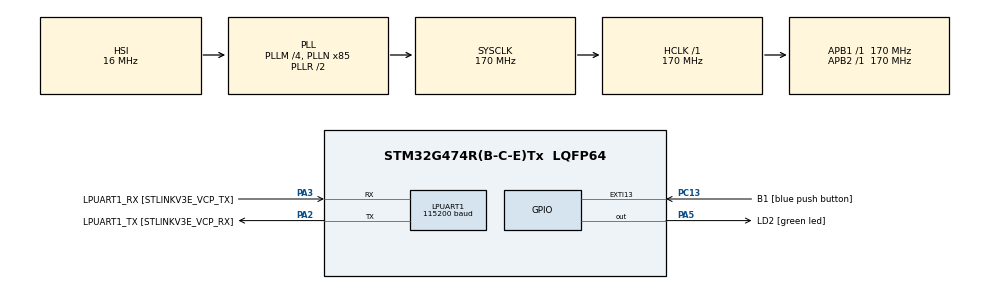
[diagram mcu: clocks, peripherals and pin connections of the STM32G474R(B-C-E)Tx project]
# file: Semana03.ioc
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LPUART1.BaudRate=115200
LPUART1.WordLength=UART_WORDLENGTH_8B
Mcu.Family=STM32G4
Mcu.Name=STM32G474R(B-C-E)Tx
Mcu.Package=LQFP64
NVIC.EXTI15_10_IRQn=true\:0\:0\:false\:false\:true\:true\:true\:true
NVIC.PriorityGroup=NVIC_PRIORITYGROUP_4
PA13.GPIO_Label=T_SWDIO
PA13.Mode=Serial_Wire
PA13.Signal=SYS_JTMS-SWDIO
PA14.GPIO_Label=T_SWCLK
PA14.Mode=Serial_Wire
PA14.Signal=SYS_JTCK-SWCLK
PA2.GPIO_Label=LPUART1_TX [STLINKV3E_VCP_RX]
PA2.Mode=Asynchronous
PA2.Signal=LPUART1_TX
PA3.GPIO_Label=LPUART1_RX [STLINKV3E_VCP_TX]
PA3.Mode=Asynchronous
PA3.Signal=LPUART1_RX
PA5.GPIO_Label=LD2 [green led]
PA5.Signal=GPIO_Output
PB3.GPIO_Label=T_SWO
PB3.Signal=SYS_JTDO-SWO
PC13.GPIO_Label=B1 [blue push button]
PC13.Signal=GPXTI13
PC14-OSC32_IN.Mode=LSE-External-Oscillator
PC14-OSC32_IN.Signal=RCC_OSC32_IN
PC15-OSC32_OUT.Mode=LSE-External-Oscillator
PC15-OSC32_OUT.Signal=RCC_OSC32_OUT
PF0-OSC_IN.Mode=HSE-External-Oscillator
PF0-OSC_IN.Signal=RCC_OSC_IN
PF1-OSC_OUT.Mode=HSE-External-Oscillator
PF1-OSC_OUT.Signal=RCC_OSC_OUT
ProjectManager.HeapSize=0x200
ProjectManager.StackSize=0x400
ProjectManager.TargetToolchain=STM32CubeIDE
RCC.ADC12Freq_Value=170000000
RCC.ADC345Freq_Value=170000000
RCC.AHBFreq_Value=170000000
RCC.APB1Freq_Value=170000000
RCC.APB1TimFreq_Value=170000000
RCC.APB2Freq_Value=170000000
RCC.APB2TimFreq_Value=170000000
RCC.CortexFreq_Value=170000000
RCC.EXTERNAL_CLOCK_VALUE=12288000
RCC.HCLKFreq_Value=170000000
RCC.HSE_VALUE=24000000
RCC.HSI48_VALUE=48000000
RCC.HSI_VALUE=16000000
RCC.PLLM=RCC_PLLM_DIV4
RCC.PLLN=85
RCC.RTCClockSelection=RCC_RTCCLKSOURCE_LSE
RCC.SYSCLKFreq_VALUE=170000000
RCC.SYSCLKSource=RCC_SYSCLKSOURCE_PLLCLK
RCC.USBFreq_Value=170000000
RCC.VCOOutputFreq_Value=340000000
VP_SYS_VS_DBSignals.Mode=DisableDeadBatterySignals
board=NUCLEO-G474RE

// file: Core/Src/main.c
/* USER CODE BEGIN Header */
/**
  ******************************************************************************
  * @file           : main.c
  * @brief          : Main program body
  ******************************************************************************
  * @attention
  *
  * Copyright (c) 2024 STMicroelectronics.
  * All rights reserved.
  *
  * This software is licensed under terms that can be found in the LICENSE file
  * in the root directory of this software component.
  * If no LICENSE file comes with this software, it is provided AS-IS.
  *
  ******************************************************************************
  */
/* USER CODE END Header */
#include "main.h"

/* USER CODE BEGIN Includes */
#include "buttons.h"
#include "led.h"
/* USER CODE END Includes */

UART_HandleTypeDef hlpuart1;

void SystemClock_Config(void);
static void MX_GPIO_Init(void);
static void MX_LPUART1_UART_Init(void);

int main(void)
{

  /* MCU Configuration--------------------------------------------------------*/

  /* Reset of all peripherals, Initializes the Flash interface and the Systick. */
  HAL_Init();

  /* USER CODE BEGIN Init */
  vLedInitLed ();
  vButtonsInitButtons();

  /* USER CODE END Init */

  /* Configure the system clock */
  SystemClock_Config();

  /* Initialize all configured peripherals */
  MX_GPIO_Init();
  MX_LPUART1_UART_Init();

  /* Infinite loop */
  /* USER CODE BEGIN WHILE */
  while (1)
  {
	  if (cButtonsGetState(up)){
	  		vLedWriteLed(green1, 1);
	  	}else if (cButtonsGetState(down)){
	  		vLedWriteLed(green1, 0);
	  		vLedOnLed(yellow);
	  	}else if (cButtonsGetState(right)){
	  		vLedOffLed(yellow);
	  		vLedOnLed(red);
	  		HAL_Delay(1000);
	  		vLedOffLed(red);
	  	}else if (cButtonsGetState(left)){
	  		vLedToggleLed(green2);
	  		HAL_Delay(500);
	  		vLedToggleLed(green2);
	  	}else if (cButtonsGetState(enter)){
	  		vLedToggleLed(blue);
	  		HAL_Delay(500);
	  		vLedToggleLed(blue);
	  	}
    /* USER CODE END WHILE */

  }
}

void SystemClock_Config(void)
{
  RCC_OscInitTypeDef RCC_OscInitStruct = {0};
  RCC_ClkInitTypeDef RCC_ClkInitStruct = {0};

  /** Configure the main internal regulator output voltage
  */
  HAL_PWREx_ControlVoltageScaling(PWR_REGULATOR_VOLTAGE_SCALE1_BOOST);

  /** Initializes the RCC Oscillators according to the specified parameters
  * in the RCC_OscInitTypeDef structure.
  */
  RCC_OscInitStruct.OscillatorType = RCC_OSCILLATORTYPE_HSI;
  RCC_OscInitStruct.HSIState = RCC_HSI_ON;
  RCC_OscInitStruct.HSICalibrationValue = RCC_HSICALIBRATION_DEFAULT;
  RCC_OscInitStruct.PLL.PLLState = RCC_PLL_ON;
  RCC_OscInitStruct.PLL.PLLSource = RCC_PLLSOURCE_HSI;
  RCC_OscInitStruct.PLL.PLLM = RCC_PLLM_DIV4;
  RCC_OscInitStruct.PLL.PLLN = 85;
  RCC_OscInitStruct.PLL.PLLP = RCC_PLLP_DIV2;
  RCC_OscInitStruct.PLL.PLLQ = RCC_PLLQ_DIV2;
  RCC_OscInitStruct.PLL.PLLR = RCC_PLLR_DIV2;
  if (HAL_RCC_OscConfig(&RCC_OscInitStruct) != HAL_OK)
  {
    Error_Handler();
  }

  /** Initializes the CPU, AHB and APB buses clocks
  */
  RCC_ClkInitStruct.ClockType = RCC_CLOCKTYPE_HCLK|RCC_CLOCKTYPE_SYSCLK
                              |RCC_CLOCKTYPE_PCLK1|RCC_CLOCKTYPE_PCLK2;
  RCC_ClkInitStruct.SYSCLKSource = RCC_SYSCLKSOURCE_PLLCLK;
  RCC_ClkInitStruct.AHBCLKDivider = RCC_SYSCLK_DIV1;
  RCC_ClkInitStruct.APB1CLKDivider = RCC_HCLK_DIV1;
  RCC_ClkInitStruct.APB2CLKDivider = RCC_HCLK_DIV1;

  if (HAL_RCC_ClockConfig(&RCC_ClkInitStruct, FLASH_LATENCY_4) != HAL_OK)
  {
    Error_Handler();
  }
}

static void MX_LPUART1_UART_Init(void)
{

  hlpuart1.Instance = LPUART1;
  hlpuart1.Init.BaudRate = 115200;
  hlpuart1.Init.WordLength = UART_WORDLENGTH_8B;
  hlpuart1.Init.StopBits = UART_STOPBITS_1;
  hlpuart1.Init.Parity = UART_PARITY_NONE;
  hlpuart1.Init.Mode = UART_MODE_TX_RX;
  hlpuart1.Init.HwFlowCtl = UART_HWCONTROL_NONE;
  hlpuart1.Init.OneBitSampling = UART_ONE_BIT_SAMPLE_DISABLE;
  hlpuart1.Init.ClockPrescaler = UART_PRESCALER_DIV1;
  hlpuart1.AdvancedInit.AdvFeatureInit = UART_ADVFEATURE_NO_INIT;
  if (HAL_UART_Init(&hlpuart1) != HAL_OK)
  {
    Error_Handler();
  }
  if (HAL_UARTEx_SetTxFifoThreshold(&hlpuart1, UART_TXFIFO_THRESHOLD_1_8) != HAL_OK)
  {
    Error_Handler();
  }
  if (HAL_UARTEx_SetRxFifoThreshold(&hlpuart1, UART_RXFIFO_THRESHOLD_1_8) != HAL_OK)
  {
    Error_Handler();
  }
  if (HAL_UARTEx_DisableFifoMode(&hlpuart1) != HAL_OK)
  {
    Error_Handler();
  }

}

static void MX_GPIO_Init(void)
{
  GPIO_InitTypeDef GPIO_InitStruct = {0};

  /* GPIO Ports Clock Enable */
  __HAL_RCC_GPIOC_CLK_ENABLE();
  __HAL_RCC_GPIOF_CLK_ENABLE();
  __HAL_RCC_GPIOA_CLK_ENABLE();
  __HAL_RCC_GPIOB_CLK_ENABLE();

  /*Configure GPIO pin Output Level */
  HAL_GPIO_WritePin(LD2_GPIO_Port, LD2_Pin, GPIO_PIN_RESET);

  /*Configure GPIO pin : B1_Pin */
  GPIO_InitStruct.Pin = B1_Pin;
  GPIO_InitStruct.Mode = GPIO_MODE_IT_RISING;
  GPIO_InitStruct.Pull = GPIO_NOPULL;
  HAL_GPIO_Init(B1_GPIO_Port, &GPIO_InitStruct);

  /*Configure GPIO pin : LD2_Pin */
  GPIO_InitStruct.Pin = LD2_Pin;
  GPIO_InitStruct.Mode = GPIO_MODE_OUTPUT_PP;
  GPIO_InitStruct.Pull = GPIO_NOPULL;
  GPIO_InitStruct.Speed = GPIO_SPEED_FREQ_LOW;
  HAL_GPIO_Init(LD2_GPIO_Port, &GPIO_InitStruct);

  /* EXTI interrupt init*/
  HAL_NVIC_SetPriority(EXTI15_10_IRQn, 0, 0);
  HAL_NVIC_EnableIRQ(EXTI15_10_IRQn);

}

void Error_Handler(void)
{
  __disable_irq();
  while (1)
  {
  }
}
